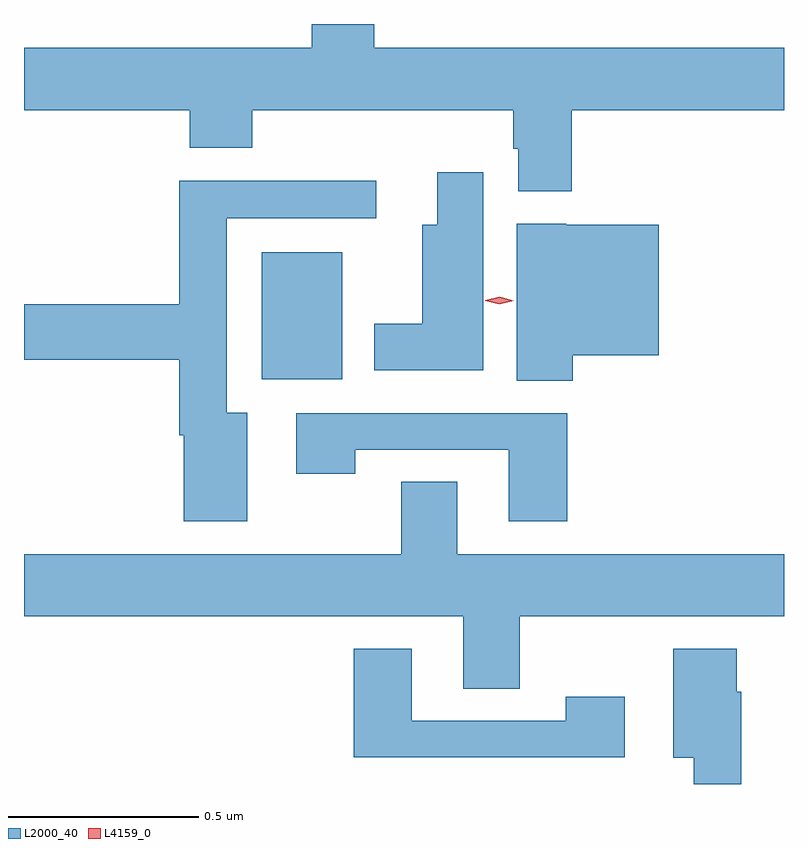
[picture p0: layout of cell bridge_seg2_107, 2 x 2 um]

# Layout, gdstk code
import gdstk
lib = gdstk.Library(unit=1e-6, precision=1e-09)
def R(c, l, rs):  # rectangles x0, y0, x1, y1
    for r in rs: c.add(gdstk.rectangle(r[:2], r[2:], *l))
def P(c, l, *ps):  # polygons
    for p in ps: c.add(gdstk.Polygon(p, *l))
L2000_40 = (2000, 40)
L4159_0 = (4159, 0)

bridge_seg2_107 = lib.new_cell('bridge_seg2_107')
R(bridge_seg2_107, L2000_40, [(580.262,649.592,580.474,649.927)])
P(bridge_seg2_107, L2000_40, [(581.078,650.3),(581.637,650.3),(581.637,650.464),(580.559,650.464),(580.559,650.527),(580.394,650.527),(580.394,650.464),(579.637,650.464),(579.637,650.3),(580.073,650.3),(580.073,650.201),(580.238,650.201),(580.238,650.3),(580.925,650.3),(580.925,650.199),(580.937,650.199),(580.937,650.087),(581.078,650.087)],
  [(580.846,650.137),(580.724,650.137),(580.724,649.999),(580.685,649.999),(580.685,649.738),(580.559,649.738),(580.559,649.616),(580.846,649.616)],
  [(580.225,649.504),(580.171,649.504),(580.171,650.016),(580.564,650.016),(580.564,650.114),(580.046,650.114),(580.046,649.79),(579.637,649.79),(579.637,649.643),(580.046,649.643),(580.046,649.445),(580.058,649.445),(580.058,649.218),(580.225,649.218)],
  [(581.081,649.655),(581.308,649.655),(581.308,649.999),(581.064,649.999),(581.064,650.002),(580.934,650.002),(580.934,649.588),(581.081,649.588)],
  [(581.066,649.503),(580.353,649.503),(580.353,649.344),(580.509,649.344),(580.509,649.407),(580.913,649.407),(580.913,649.218),(581.066,649.218)],
  [(580.941,648.968),(581.637,648.968),(581.637,649.132),(580.777,649.132),(580.777,649.322),(580.63,649.322),(580.63,649.132),(579.637,649.132),(579.637,648.968),(580.793,648.968),(580.793,648.778),(580.941,648.778)],
  [(581.525,648.77),(581.512,648.77),(581.512,648.883),(581.345,648.883),(581.345,648.596),(581.399,648.596),(581.399,648.527),(581.525,648.527)],
  [(581.218,648.757),(581.062,648.757),(581.062,648.693),(580.657,648.693),(580.657,648.883),(580.505,648.883),(580.505,648.597),(581.218,648.597)])
P(bridge_seg2_107, L4159_0, [(580.888,649.789),(580.851,649.799),(580.851,649.799),(580.851,649.8),(580.889,649.809),(580.926,649.799),(580.926,649.799),(580.926,649.799)])

lib.write_gds('bridge_seg2_107.gds')
